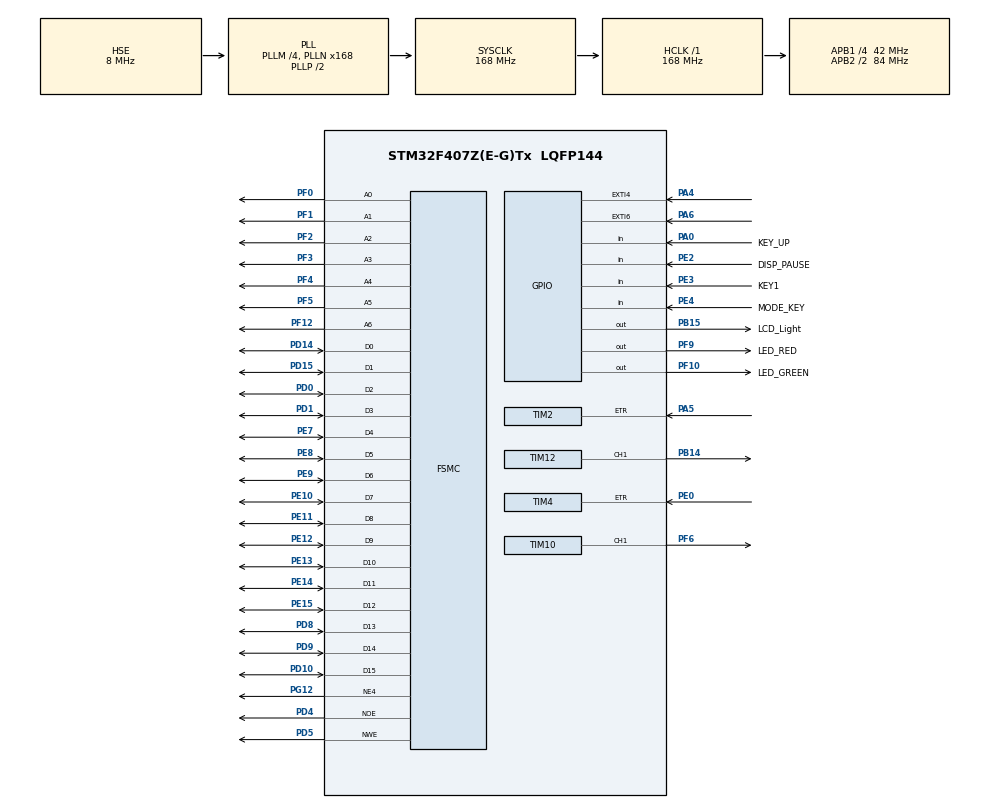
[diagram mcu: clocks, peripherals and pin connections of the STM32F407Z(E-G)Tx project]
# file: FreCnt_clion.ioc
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FREERTOS.Tasks01=defaultTask,8,128,StartDefaultTask,Default,NULL,Dynamic,NULL,NULL;LCD,48,256,lcdDisplay,As external,NULL,Dynamic,NULL,NULL;frequencyCnt,40,128,freCnt,As external,NULL,Dynamic,NULL,NULL;keyTask,24,128,keychecktask,As external,NULL,Dynamic,NULL,NULL
FREERTOS.configENABLE_FPU=1
FREERTOS.configMAX_TASK_NAME_LEN=64
FSMC.AddressSetupTime1=0x0F
FSMC.BusTurnAroundDuration1=0
FSMC.DataSetupTime1=60
FSMC.ExtendedAddressSetupTime1=9
FSMC.ExtendedBusTurnAroundDuration1=0
FSMC.ExtendedDataSetupTime1=8
FSMC.ExtendedMode1=FSMC_EXTENDED_MODE_ENABLE
FSMC.WriteOperation1=FSMC_WRITE_OPERATION_ENABLE
Mcu.Family=STM32F4
Mcu.Name=STM32F407Z(E-G)Tx
Mcu.Package=LQFP144
NVIC.EXTI4_IRQn=true\:5\:0\:false\:false\:true\:true\:true\:true
NVIC.EXTI9_5_IRQn=true\:5\:0\:false\:false\:true\:true\:true\:true
NVIC.PriorityGroup=NVIC_PRIORITYGROUP_4
NVIC.TIM4_IRQn=true\:5\:0\:false\:false\:true\:true\:true\:true
NVIC.TIM7_IRQn=true\:5\:0\:false\:false\:true\:true\:true\:true
NVIC.TIM8_TRG_COM_TIM14_IRQn=true\:5\:0\:false\:false\:true\:false\:false\:true
NVIC.TimeBase=TIM8_TRG_COM_TIM14_IRQn
NVIC.TimeBaseIP=TIM14
PA0-WKUP.GPIO_Label=KEY_UP
PA0-WKUP.Signal=GPIO_Input
PA13.Mode=Serial_Wire
PA13.Signal=SYS_JTMS-SWDIO
PA14.Mode=Serial_Wire
PA14.Signal=SYS_JTCK-SWCLK
PA4.GPIO_ModeDefaultEXTI=GPIO_MODE_IT_RISING
PA4.Signal=GPXTI4
PA5.Signal=S_TIM2_CH1_ETR
PA6.GPIO_ModeDefaultEXTI=GPIO_MODE_IT_RISING
PA6.Signal=GPXTI6
PB14.Signal=S_TIM12_CH1
PB15.GPIO_Label=LCD_Light
PB15.GPIO_PuPd=GPIO_PULLUP
PB15.GPIO_Speed=GPIO_SPEED_FREQ_HIGH
PB15.Signal=GPIO_Output
PD0.Signal=FSMC_D2_DA2
PD1.Signal=FSMC_D3_DA3
PD10.Signal=FSMC_D15_DA15
PD14.Signal=FSMC_D0_DA0
PD15.Signal=FSMC_D1_DA1
PD4.Signal=FSMC_NOE
PD5.Signal=FSMC_NWE
PD8.Signal=FSMC_D13_DA13
PD9.Signal=FSMC_D14_DA14
PE0.Signal=S_TIM4_ETR
PE10.Signal=FSMC_D7_DA7
PE11.Signal=FSMC_D8_DA8
PE12.Signal=FSMC_D9_DA9
PE13.Signal=FSMC_D10_DA10
PE14.Signal=FSMC_D11_DA11
PE15.Signal=FSMC_D12_DA12
PE2.GPIO_Label=DISP_PAUSE
PE2.Signal=GPIO_Input
PE3.GPIO_Label=KEY1
PE3.Signal=GPIO_Input
PE4.GPIO_Label=MODE_KEY
PE4.Signal=GPIO_Input
PE7.Signal=FSMC_D4_DA4
PE8.Signal=FSMC_D5_DA5
PE9.Signal=FSMC_D6_DA6
PF0.Signal=FSMC_A0
PF1.Signal=FSMC_A1
PF10.GPIO_Label=LED_GREEN
PF10.GPIO_PuPd=GPIO_PULLDOWN
PF10.Signal=GPIO_Output
PF12.Signal=FSMC_A6
PF2.Signal=FSMC_A2
PF3.Signal=FSMC_A3
PF4.Signal=FSMC_A4
PF5.Signal=FSMC_A5
PF6.Signal=S_TIM10_CH1
PF9.GPIO_Label=LED_RED
PF9.GPIO_PuPd=GPIO_PULLDOWN
PF9.Signal=GPIO_Output
PG12.Mode=NorPsramChipSelect4_1
PG12.Signal=FSMC_NE4
PH0-OSC_IN.Mode=HSE-External-Oscillator
PH0-OSC_IN.Signal=RCC_OSC_IN
PH1-OSC_OUT.Mode=HSE-External-Oscillator
PH1-OSC_OUT.Signal=RCC_OSC_OUT
ProjectManager.HeapSize=0x200
ProjectManager.StackSize=0x400
ProjectManager.TargetToolchain=SW4STM32
RCC.48MHZClocksFreq_Value=84000000
RCC.AHBFreq_Value=168000000
RCC.APB1CLKDivider=RCC_HCLK_DIV4
RCC.APB1Freq_Value=42000000
RCC.APB1TimFreq_Value=84000000
RCC.APB2CLKDivider=RCC_HCLK_DIV2
RCC.APB2Freq_Value=84000000
RCC.APB2TimFreq_Value=168000000
RCC.CortexFreq_Value=168000000
RCC.HCLKFreq_Value=168000000
RCC.HSE_VALUE=8000000
RCC.HSI_VALUE=16000000
RCC.LSE_VALUE=32768
RCC.PLLM=4
RCC.PLLN=168
RCC.PLLSourceVirtual=RCC_PLLSOURCE_HSE
RCC.SYSCLKFreq_VALUE=168000000
RCC.SYSCLKSource=RCC_SYSCLKSOURCE_PLLCLK
RCC.VCOOutputFreq_Value=336000000
SH.FSMC_A0.0=FSMC_A0,7b-a1
SH.FSMC_A1.0=FSMC_A1,7b-a1
SH.FSMC_A2.0=FSMC_A2,7b-a1
SH.FSMC_A3.0=FSMC_A3,7b-a1
SH.FSMC_A4.0=FSMC_A4,7b-a1
SH.FSMC_A5.0=FSMC_A5,7b-a1
SH.FSMC_A6.0=FSMC_A6,7b-a1
SH.FSMC_D0_DA0.0=FSMC_D0,16b-d1
SH.FSMC_D10_DA10.0=FSMC_D10,16b-d1
SH.FSMC_D11_DA11.0=FSMC_D11,16b-d1
SH.FSMC_D12_DA12.0=FSMC_D12,16b-d1
SH.FSMC_D13_DA13.0=FSMC_D13,16b-d1
SH.FSMC_D14_DA14.0=FSMC_D14,16b-d1
SH.FSMC_D15_DA15.0=FSMC_D15,16b-d1
SH.FSMC_D1_DA1.0=FSMC_D1,16b-d1
SH.FSMC_D2_DA2.0=FSMC_D2,16b-d1
SH.FSMC_D3_DA3.0=FSMC_D3,16b-d1
SH.FSMC_D4_DA4.0=FSMC_D4,16b-d1
SH.FSMC_D5_DA5.0=FSMC_D5,16b-d1
SH.FSMC_D6_DA6.0=FSMC_D6,16b-d1
SH.FSMC_D7_DA7.0=FSMC_D7,16b-d1
SH.FSMC_D8_DA8.0=FSMC_D8,16b-d1
SH.FSMC_D9_DA9.0=FSMC_D9,16b-d1
SH.FSMC_NOE.0=FSMC_NOE,Sram1
SH.FSMC_NWE.0=FSMC_NWE,Sram1
SH.S_TIM10_CH1.0=TIM10_CH1,PWM Generation1 CH1
SH.S_TIM12_CH1.0=TIM12_CH1,PWM Generation1 CH1
SH.S_TIM2_CH1_ETR.0=TIM2_ETR,ClockSourceETR_Mode2
SH.S_TIM4_ETR.0=TIM4_ETR,ClockSourceETR_Mode2
TIM1.TIM_MasterOutputTrigger=TIM_TRGO_UPDATE
TIM1.TIM_MasterSlaveMode=TIM_MASTERSLAVEMODE_ENABLE
TIM10.Channel=TIM_CHANNEL_1
TIM10.Period=10000-1
TIM10.Prescaler=16800-1
TIM10.Pulse=5000-1
TIM12.Channel-PWM\ Generation1\ CH1=TIM_CHANNEL_1
TIM12.ClockDivision=TIM_CLOCKDIVISION_DIV1
TIM12.Period=10000-1
TIM12.Prescaler=8400-1
TIM12.Pulse-PWM\ Generation1\ CH1=5000-1
TIM4.AutoReloadPreload=TIM_AUTORELOAD_PRELOAD_DISABLE
TIM4.TIM_MasterOutputTrigger=TIM_TRGO_RESET
TIM4.TIM_MasterSlaveMode=TIM_MASTERSLAVEMODE_DISABLE
TIM7.Period=10000-1
TIM7.Prescaler=8400-1
VP_FREERTOS_VS_CMSIS_V2.Mode=CMSIS_V2
VP_SYS_VS_tim14.Mode=TIM14
VP_TIM10_VS_ClockSourceINT.Mode=Enable_Timer
VP_TIM12_VS_ClockSourceINT.Mode=Internal
VP_TIM1_VS_ClockSourceINT.Mode=Internal
VP_TIM7_VS_ClockSourceINT.Mode=Enable_Timer
VP_TIM8_VS_ClockSourceITR.Mode=TriggerSource_ITR0
VP_TIM8_VS_ControllerModeClock.Mode=Clock Mode
board=custom

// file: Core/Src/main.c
/* USER CODE BEGIN Header */
/**
  ******************************************************************************
  * @file           : main.c
  * @brief          : Main program body
  ******************************************************************************
  * @attention
  *
  * Copyright (c) 2022 STMicroelectronics.
  * All rights reserved.
  *
  * This software is licensed under terms that can be found in the LICENSE file
  * in the root directory of this software component.
  * If no LICENSE file comes with this software, it is provided AS-IS.
  *
  ******************************************************************************
  */
/* USER CODE END Header */
#include "main.h"
#include "cmsis_os.h"
#include "tim.h"
#include "gpio.h"
#include "fsmc.h"

/* USER CODE BEGIN Includes */
#include "mode.h"
/* USER CODE END Includes */

void SystemClock_Config(void);
void MX_FREERTOS_Init(void);

int main(void)
{

  /* MCU Configuration--------------------------------------------------------*/

  /* Reset of all peripherals, Initializes the Flash interface and the Systick. */
  HAL_Init();

  /* Configure the system clock */
  SystemClock_Config();

  /* Initialize all configured peripherals */
  MX_GPIO_Init();
  MX_FSMC_Init();
  MX_TIM2_Init();
  MX_TIM12_Init();
  MX_TIM10_Init();
  MX_TIM1_Init();
  MX_TIM8_Init();
  MX_TIM4_Init();
  MX_TIM7_Init();
  /* USER CODE BEGIN 2 */
  HAL_NVIC_DisableIRQ(EXTI4_IRQn);
  HAL_NVIC_DisableIRQ(EXTI9_5_IRQn);
  HAL_TIM_PWM_Start(&htim12,TIM_CHANNEL_1);
  if(mode == INTERVAL_MODE) {
    uint32_t i = 0xffffff;
    while (i--);
  }
  HAL_TIM_PWM_Start(&htim10,TIM_CHANNEL_1);
  /* USER CODE END 2 */

  /* Init scheduler */
  osKernelInitialize();  /* Call init function for freertos objects (in freertos.c) */
  MX_FREERTOS_Init();
  /* Start scheduler */
  osKernelStart();

  /* We should never get here as control is now taken by the scheduler */
  /* Infinite loop */
  while (1)
  {

  }
}

void SystemClock_Config(void)
{
  RCC_OscInitTypeDef RCC_OscInitStruct = {0};
  RCC_ClkInitTypeDef RCC_ClkInitStruct = {0};

  /** Configure the main internal regulator output voltage
  */
  __HAL_RCC_PWR_CLK_ENABLE();
  __HAL_PWR_VOLTAGESCALING_CONFIG(PWR_REGULATOR_VOLTAGE_SCALE1);
  /** Initializes the RCC Oscillators according to the specified parameters
  * in the RCC_OscInitTypeDef structure.
  */
  RCC_OscInitStruct.OscillatorType = RCC_OSCILLATORTYPE_HSE;
  RCC_OscInitStruct.HSEState = RCC_HSE_ON;
  RCC_OscInitStruct.PLL.PLLState = RCC_PLL_ON;
  RCC_OscInitStruct.PLL.PLLSource = RCC_PLLSOURCE_HSE;
  RCC_OscInitStruct.PLL.PLLM = 4;
  RCC_OscInitStruct.PLL.PLLN = 168;
  RCC_OscInitStruct.PLL.PLLP = RCC_PLLP_DIV2;
  RCC_OscInitStruct.PLL.PLLQ = 4;
  if (HAL_RCC_OscConfig(&RCC_OscInitStruct) != HAL_OK)
  {
    Error_Handler();
  }
  /** Initializes the CPU, AHB and APB buses clocks
  */
  RCC_ClkInitStruct.ClockType = RCC_CLOCKTYPE_HCLK|RCC_CLOCKTYPE_SYSCLK
                              |RCC_CLOCKTYPE_PCLK1|RCC_CLOCKTYPE_PCLK2;
  RCC_ClkInitStruct.SYSCLKSource = RCC_SYSCLKSOURCE_PLLCLK;
  RCC_ClkInitStruct.AHBCLKDivider = RCC_SYSCLK_DIV1;
  RCC_ClkInitStruct.APB1CLKDivider = RCC_HCLK_DIV4;
  RCC_ClkInitStruct.APB2CLKDivider = RCC_HCLK_DIV2;

  if (HAL_RCC_ClockConfig(&RCC_ClkInitStruct, FLASH_LATENCY_5) != HAL_OK)
  {
    Error_Handler();
  }
}

void HAL_TIM_PeriodElapsedCallback(TIM_HandleTypeDef *htim)
{
  if (htim->Instance == TIM14) {
    HAL_IncTick();
  }
}

void Error_Handler(void)
{
  __disable_irq();
  while (1)
  {
  }
}

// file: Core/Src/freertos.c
/* USER CODE BEGIN Header */
/**
  ******************************************************************************
  * File Name          : freertos.c
  * Description        : Code for freertos applications
  ******************************************************************************
  * @attention
  *
  * Copyright (c) 2022 STMicroelectronics.
  * All rights reserved.
  *
  * This software is licensed under terms that can be found in the LICENSE file
  * in the root directory of this software component.
  * If no LICENSE file comes with this software, it is provided AS-IS.
  *
  ******************************************************************************
  */
/* USER CODE END Header */

#include "FreeRTOS.h"
#include "task.h"
#include "main.h"
#include "cmsis_os.h"

/* USER CODE BEGIN Includes */
#include "lcd.h"
#include "tim.h"
/* USER CODE END Includes */

/* Definitions for defaultTask */
osThreadId_t defaultTaskHandle;
const osThreadAttr_t defaultTask_attributes = {
  .name = "defaultTask",
  .stack_size = 128 * 4,
  .priority = (osPriority_t) osPriorityLow,
};
/* Definitions for LCD */
osThreadId_t LCDHandle;
const osThreadAttr_t LCD_attributes = {
  .name = "LCD",
  .stack_size = 256 * 4,
  .priority = (osPriority_t) osPriorityRealtime,
};
/* Definitions for frequencyCnt */
osThreadId_t frequencyCntHandle;
const osThreadAttr_t frequencyCnt_attributes = {
  .name = "frequencyCnt",
  .stack_size = 128 * 4,
  .priority = (osPriority_t) osPriorityHigh,
};
/* Definitions for keyTask */
osThreadId_t keyTaskHandle;
const osThreadAttr_t keyTask_attributes = {
  .name = "keyTask",
  .stack_size = 128 * 4,
  .priority = (osPriority_t) osPriorityNormal,
};

void StartDefaultTask(void *argument);
extern void lcdDisplay(void *argument);
extern void freCnt(void *argument);
extern void keychecktask(void *argument);

void MX_FREERTOS_Init(void); /* (MISRA C 2004 rule 8.1) */

void MX_FREERTOS_Init(void) {

  /* Create the thread(s) */
  /* creation of defaultTask */
  defaultTaskHandle = osThreadNew(StartDefaultTask, NULL, &defaultTask_attributes);

  /* creation of LCD */
  LCDHandle = osThreadNew(lcdDisplay, NULL, &LCD_attributes);

  /* creation of frequencyCnt */
  frequencyCntHandle = osThreadNew(freCnt, NULL, &frequencyCnt_attributes);

  /* creation of keyTask */
  keyTaskHandle = osThreadNew(keychecktask, NULL, &keyTask_attributes);

}

void StartDefaultTask(void *argument)
{
  /* USER CODE BEGIN StartDefaultTask */
  HAL_GPIO_WritePin(LED_RED_GPIO_Port,LED_RED_Pin,GPIO_PIN_SET);
  /* Infinite loop */
  for(;;)
  {
    HAL_GPIO_WritePin(LED_GREEN_GPIO_Port,LED_GREEN_Pin,GPIO_PIN_RESET);
    osDelay(50);
    HAL_GPIO_WritePin(LED_GREEN_GPIO_Port,LED_GREEN_Pin,GPIO_PIN_SET);
    osDelay(950);
  }
  /* USER CODE END StartDefaultTask */
}
